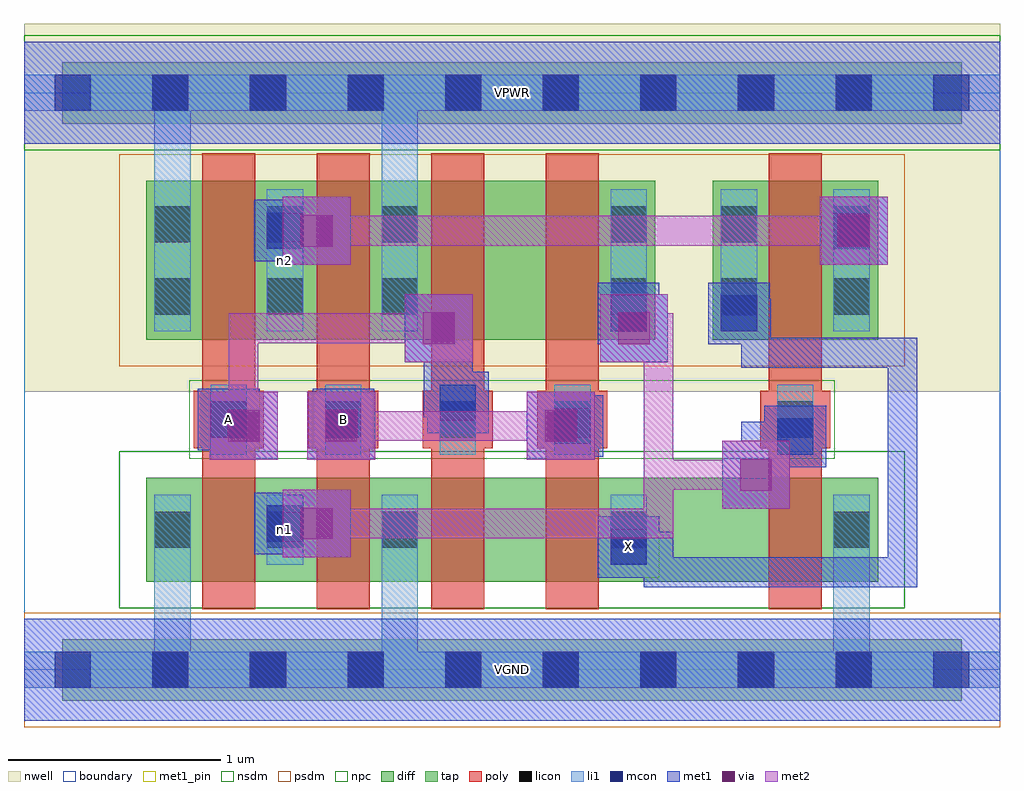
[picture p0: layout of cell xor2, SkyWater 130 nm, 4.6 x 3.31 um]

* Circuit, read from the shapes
.subckt xor2 A B VGND VPWR X n1 n2
XM1 n1 A VGND VGND sky130_fd_pr__nfet_01v8 w=0.49 l=0.25
XM2 VGND B n1 VGND sky130_fd_pr__nfet_01v8 w=0.49 l=0.25
XM3 n3 A VGND VGND sky130_fd_pr__nfet_01v8 w=0.49 l=0.25
XM4 X B n3 VGND sky130_fd_pr__nfet_01v8 w=0.49 l=0.25
XM5 VGND n1 X VGND sky130_fd_pr__nfet_01v8 w=0.49 l=0.25
XM6 n2 A VPWR VPWR sky130_fd_pr__pfet_01v8 w=0.75 l=0.25
XM7 VPWR B n2 VPWR sky130_fd_pr__pfet_01v8 w=0.75 l=0.25
XM8 n4 A VPWR VPWR sky130_fd_pr__pfet_01v8 w=0.75 l=0.25
XM9 n1 B n4 VPWR sky130_fd_pr__pfet_01v8 w=0.75 l=0.25
XM10 n2 n1 X VPWR sky130_fd_pr__pfet_01v8 w=0.75 l=0.25
.ends

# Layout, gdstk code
import gdstk
lib = gdstk.Library(unit=1e-6, precision=1e-09)
def R(c, l, rs):  # rectangles x0, y0, x1, y1
    for r in rs: c.add(gdstk.rectangle(r[:2], r[2:], *l))
def A(c, l, x, y, w, h, nx, ny, dx, dy):  # array of equal rectangles
    R(c, l, [(x+i*dx, y+j*dy, x+i*dx+w, y+j*dy+h) for i in range(nx) for j in range(ny)])
nwell = (64, 20)
diff = (65, 20)
tap = (65, 44)
poly = (66, 20)
licon = (66, 44)
li1 = (67, 20)
mcon = (67, 44)
met1_pin = (68, 16)
met1 = (68, 20)
via = (68, 44)
met2 = (69, 20)
nsdm = (93, 44)
psdm = (94, 20)
npc = (95, 20)
boundary = (235, 4)

xor2 = lib.new_cell('xor2')
R(xor2, nwell, [(0,1.31,4.6,3.045)])
R(xor2, diff, [(0.575,0.415,4.025,0.905), (0.575,1.555,2.975,2.305), (3.245,1.555,4.025,2.305)])
R(xor2, tap, [(0.18,-0.145,4.42,0.145), (0.18,2.575,4.42,2.865)])
A(xor2, poly, 0.84, 0.285, 0.25, 2.15, 4, 1, 0.54, 0)
A(xor2, poly, 0.8, 1.045, 0.33, 0.27, 4, 1, 0.54, 0)
R(xor2, poly, [(3.51,0.285,3.76,2.435), (3.47,1.045,3.8,1.315)])
A(xor2, licon, 0.605, -0.085, 0.17, 0.17, 8, 2, 0.46, 2.72)
A(xor2, licon, 0.88, 1.095, 0.17, 0.17, 4, 1, 0.54, 0)
R(xor2, licon, [(0.615,0.575,0.785,0.745), (1.145,0.575,1.315,0.745), (1.685,0.575,1.855,0.745), (2.765,0.575,2.935,0.745), (3.815,0.575,3.985,0.745), (3.55,1.095,3.72,1.265), (0.615,1.675,0.785,1.845), (1.145,1.675,1.315,1.845), (1.685,1.675,1.855,1.845), (2.765,1.675,2.935,1.845), (3.285,1.675,3.455,1.845), (3.815,1.675,3.985,1.845), (0.615,2.015,0.785,2.185), (1.145,2.015,1.315,2.185), (1.685,2.015,1.855,2.185), (2.765,2.015,2.935,2.185), (3.285,2.015,3.455,2.185), (3.815,2.015,3.985,2.185)])
A(xor2, li1, 0.88, 1.015, 0.17, 0.33, 4, 1, 0.54, 0)
R(xor2, li1, [(0,-0.085,4.6,0.085), (0.615,-0.085,0.785,0.825), (1.685,-0.085,1.855,0.825), (3.815,-0.085,3.985,0.825), (0.615,0.495,0.785,0.825), (1.145,0.495,1.315,0.825), (1.685,0.495,1.855,0.825), (2.765,0.495,2.935,0.825), (3.815,0.495,3.985,0.825), (3.55,1.015,3.72,1.345), (0.615,1.595,0.785,2.265), (0.615,1.595,0.785,2.805), (1.145,1.595,1.315,2.265), (1.685,1.595,1.855,2.265), (1.685,1.595,1.855,2.805), (2.765,1.595,2.935,2.265), (3.285,1.595,3.455,2.265), (3.815,1.595,3.985,2.265), (0,2.635,4.6,2.805)])
A(xor2, mcon, 0.145, -0.085, 0.17, 0.17, 10, 2, 0.46, 2.72)
R(xor2, mcon, [(2.765,0.495,2.935,0.665), (1.145,0.605,1.315,0.775), (3.55,1.015,3.72,1.185), (2.5,1.065,2.67,1.235), (0.88,1.095,1.05,1.265), (1.42,1.095,1.59,1.265), (1.96,1.175,2.13,1.345), (2.765,1.595,2.935,1.765), (3.285,1.595,3.455,1.765), (1.145,1.985,1.315,2.155), (3.815,1.985,3.985,2.155)])
R(xor2, met1_pin, [(0,-0.24,4.6,0.24), (2.705,0.435,2.995,0.725), (0.82,1.035,1.11,1.325), (1.36,1.035,1.65,1.325), (0,2.48,4.6,2.96)])
R(xor2, met1, [(0,-0.24,4.6,0.24), (2.92,0.39,3.06,0.65), (2.92,0.39,4.21,0.53), (4.07,0.39,4.21,1.565), (2.705,0.435,2.995,0.725), (2.78,0.51,3.06,0.65), (1.22,0.53,1.54,0.85), (1.085,0.545,1.375,0.835), (1.16,0.62,1.45,0.76), (3.29,0.76,3.61,1.08), (3.38,0.85,3.52,1.17), (3.49,0.955,3.78,1.245), (0.875,0.99,1.195,1.31), (1.335,0.99,1.655,1.31), (2.37,0.99,2.69,1.31), (2.44,1.005,2.73,1.295), (3.38,1.03,3.705,1.17), (0.82,1.035,1.11,1.325), (1.36,1.035,1.65,1.325), (0.965,1.08,1.105,1.22), (1.425,1.08,1.565,1.22), (2.46,1.08,2.655,1.22), (1.9,1.115,2.19,1.405), (1.885,1.19,2.025,1.45), (1.885,1.19,2.115,1.33), (1.885,1.31,2.025,1.68), (1.885,1.33,2.115,1.45), (1.9,1.405,2.115,1.45), (3.38,1.425,3.52,1.75), (3.38,1.425,4.21,1.565), (1.795,1.45,2.115,1.77), (2.715,1.45,3.035,1.77), (2.705,1.535,2.995,1.825), (3.225,1.535,3.515,1.825), (2.805,1.54,2.945,1.75), (2.78,1.61,2.945,1.75), (3.3,1.61,3.52,1.75), (1.22,1.91,1.54,2.23), (3.75,1.91,4.07,2.23), (1.085,1.925,1.375,2.215), (3.755,1.925,4.045,2.215), (1.16,2,1.45,2.14), (3.83,2,3.98,2.14), (0,2.48,4.6,2.96)])
R(xor2, via, [(1.305,0.615,1.455,0.765), (3.375,0.845,3.525,0.995), (0.96,1.075,1.11,1.225), (1.42,1.075,1.57,1.225), (2.455,1.075,2.605,1.225), (1.88,1.535,2.03,1.685), (2.8,1.535,2.95,1.685), (1.305,1.995,1.455,2.145), (3.835,1.995,3.985,2.145)])
R(xor2, met2, [(1.22,0.53,1.54,0.85), (1.31,0.62,3.06,0.76), (2.92,0.62,3.06,0.99), (3.29,0.76,3.61,1.08), (2.92,0.85,3.52,0.99), (2.92,0.85,3.06,1.68), (0.875,0.99,1.195,1.31), (1.335,0.99,1.655,1.31), (2.37,0.99,2.69,1.31), (0.965,1.08,1.105,1.68), (1.425,1.08,2.6,1.22), (1.795,1.45,2.115,1.77), (2.715,1.45,3.035,1.77), (0.965,1.54,2.025,1.68), (2.805,1.54,3.06,1.68), (1.22,1.91,1.54,2.23), (3.75,1.91,4.07,2.23), (1.31,2,3.98,2.14)])
R(xor2, nsdm, [(0.45,0.29,4.15,1.03), (0,2.45,4.6,2.99)])
R(xor2, psdm, [(0,-0.27,4.6,0.27), (0.45,1.43,4.15,2.43)])
R(xor2, npc, [(0.78,0.995,3.82,1.365)])
R(xor2, boundary, [(0,0,4.6,2.72)])
xor2.add(gdstk.Label('n1', (1.23,0.66), layer=67, texttype=5))
xor2.add(gdstk.Label('n2', (1.23,1.93), layer=67, texttype=5))
xor2.add(gdstk.Label('A', (0.965,1.18), layer=68, texttype=5))
xor2.add(gdstk.Label('B', (1.505,1.18), layer=68, texttype=5))
xor2.add(gdstk.Label('X', (2.85,0.58), layer=68, texttype=5))
xor2.add(gdstk.Label('VPWR', (2.3,2.72), layer=68, texttype=5))
xor2.add(gdstk.Label('VGND', (2.3,0), layer=68, texttype=5))
xor2.add(gdstk.Label('A', (0.965,1.18), layer=68, texttype=16))
xor2.add(gdstk.Label('B', (1.505,1.18), layer=68, texttype=16))
xor2.add(gdstk.Label('X', (2.85,0.58), layer=68, texttype=16))
xor2.add(gdstk.Label('VPWR', (2.3,2.72), layer=68, texttype=16))
xor2.add(gdstk.Label('VGND', (2.3,0), layer=68, texttype=16))

lib.write_gds('xor2.gds')
